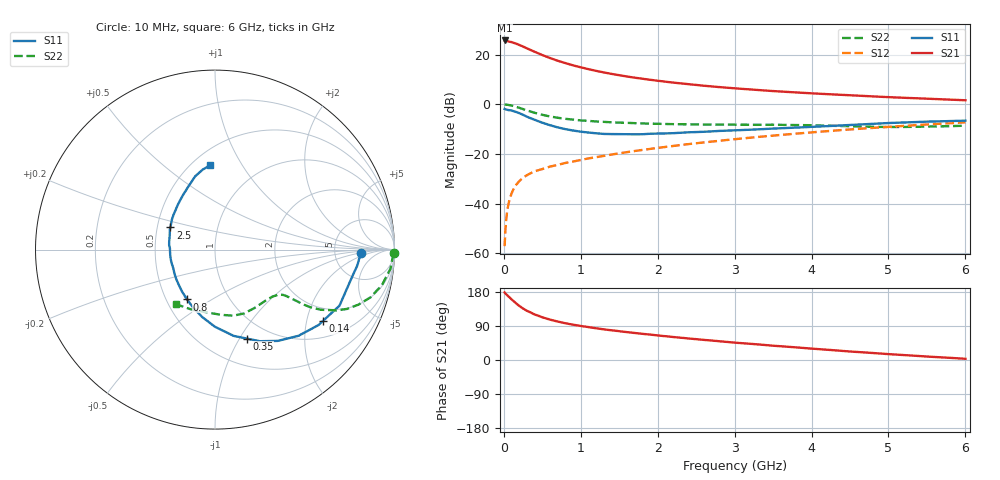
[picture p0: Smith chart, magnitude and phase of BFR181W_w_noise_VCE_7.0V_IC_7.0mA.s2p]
! Infineon Technologies  Discrete & RF Semiconductors
! BFR181W
! VCE =  7.0 V,  IC =  7.0 mA
! Common Emitter S-Parameters:  Jan 2017
# GHz  S  MA  R  50
!  f  S11  S21  S12  S22
! GHz  MAG  ANG  MAG  ANG  MAG  ANG  MAG  ANG
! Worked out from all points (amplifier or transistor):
!   77 points, 10 MHz to 6 GHz, reference 50 ohm
!   highest |S21| = 25.8 dB at 10 MHz (marker M1)
!   |S21| within 3 dB of that: start of sweep to 287.3 MHz
!   unconditionally stable (mu >= 1): 1.202 GHz to 3.218 GHz
!   at 130 MHz: K = 0.20, MSG = 29.3 dB, |S12| = -33.9 dB
!   at 2.2 GHz: K = 1.07, MAG = 11.2 dB, |S12| = -16.7 dB
!   at 6 GHz: K = 0.85, MSG = 4.4 dB, |S12| = -7.2 dB
!   lowest NFmin = 1.08 dB at 450 MHz
!   S11 on the Smith chart (normalised r, x): 10 MHz: 9.48, -1.18; 140 MHz: 1.51, -2.50; 350 MHz: 0.78, -1.07; 800 MHz: 0.64, -0.39; 2.5 GHz: 0.59, +0.16; 6 GHz: 0.61, +0.74
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0.01  0.8119 -1.5  19.43 178.2  0.0014 84.8  0.996 -1.2
0.02  0.798 -6.3  19.23 175.3  0.0029 100.1  0.9919 -2.2
0.05  0.7763 -12.1  18.77 169.7  0.0082 82.2  0.9834 -6.2
0.1  0.7607 -24.3  18 160.0  0.0161 80.0  0.9511 -12.0
0.14  0.7205 -33.6  17.17 153.0  0.0216 74.6  0.9153 -16.0
0.15  0.7136 -36.1  17.01 151.1  0.023 73.7  0.9071 -17.0
0.2  0.6687 -45.9  15.8 142.9  0.0285 69.5  0.856 -21.0
0.25  0.6173 -55.5  14.64 135.8  0.0335 65.1  0.8062 -24.2
0.3  0.5678 -64.0  13.47 129.8  0.0376 63.4  0.7572 -26.6
0.35  0.526 -70.4  12.45 125.3  0.0413 61.7  0.7177 -28.0
0.4  0.4918 -77.8  11.51 120.1  0.045 60.3  0.6787 -29.6
0.5  0.4296 -90.1  9.863 112.7  0.05 59.0  0.6181 -31.2
0.6  0.3821 -100.8  8.608 106.6  0.0561 58.3  0.5734 -31.9
0.8  0.3184 -119.3  6.798 97.0  0.0665 60.0  0.5141 -32.5
1.1  0.272 -142.3  5.136 86.8  0.0819 62.0  0.4659 -33.3
1.6  0.2515 -172.4  3.655 73.5  0.1096 63.8  0.4266 -36.7
2.1  0.261 166.5  2.877 62.8  0.1395 64.1  0.4044 -43.0
2.5  0.2779 153.6  2.47 55.0  0.1654 63.4  0.3958 -49.3
3.1  0.3054 137.8  2.059 44.3  0.2066 61.3  0.391 -59.3
4.1  0.3595 118.3  1.644 28.6  0.2816 55.8  0.3777 -76.4
5.1  0.4278 103.9  1.382 14.3  0.3616 48.1  0.3517 -101.0
6  0.4715 93.1  1.214 3.2  0.4364 39.9  0.3736 -125.4
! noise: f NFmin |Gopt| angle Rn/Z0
0.45  1.08  0.24  17  0.22
0.9  1.13  0.22  31  0.21
1.9  1.55  0.09  86  0.19
2.4  1.7  0.08  96  0.23
